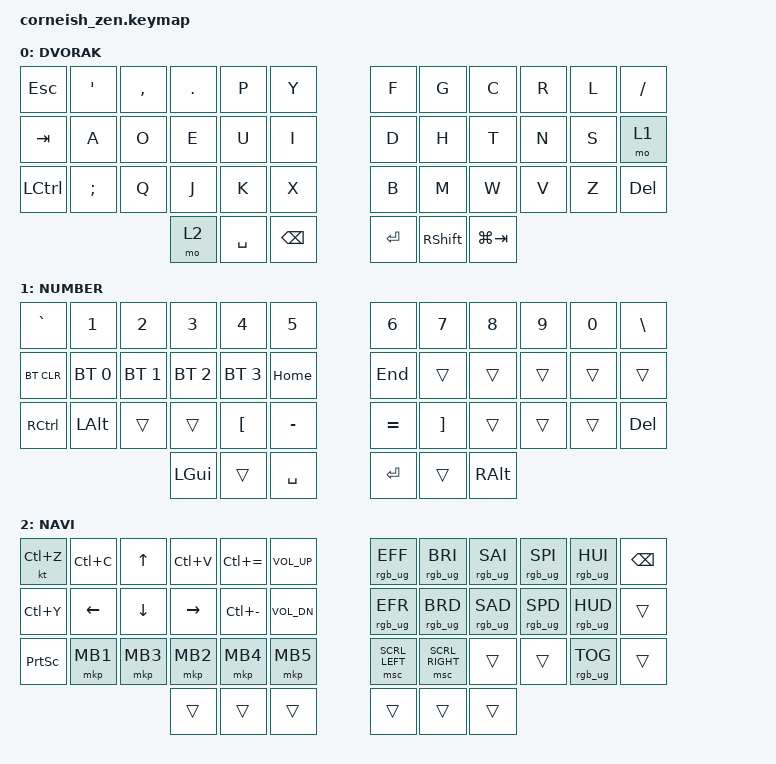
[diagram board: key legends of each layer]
#include <behaviors.dtsi>
#include <dt-bindings/zmk/bt.h>
#include <dt-bindings/zmk/keys.h>
#include <dt-bindings/zmk/pointing.h>
#include <dt-bindings/zmk/rgb.h>

/ {
    chosen {
        zmk,physical-layout = &foostan_corne_6col_layout;

        // zmk,physical-layout = &foostan_corne_5col_layout;
    };
};

/ {
    keymap {
        compatible = "zmk,keymap";

        TEXT {
            display-name = "DVORAK";

            // --------------------------------------------------------------------------------
            // |  TAB |  Q  |  W  |  E  |  R  |  T  |   |  Y  |  U   |  I  |  O  |  P  | BSPC |
            // | CTRL |  A  |  S  |  D  |  F  |  G  |   |  H  |  J   |  K  |  L  |  ;  |  '   |
            // | SHFT |  Z  |  X  |  C  |  V  |  B  |   |  N  |  M   |  ,  |  .  |  /  | ESC  |
            //                    | GUI | LWR | SPC |   | ENT | RSE  | ALT |

            bindings = <
&kp ESC    &kp SQT   &kp COMMA  &kp DOT  &kp P      &kp Y       &kp F    &kp G      &kp C        &kp R  &kp L  &kp FSLH
&kp TAB    &kp A     &kp O      &kp E    &kp U      &kp I       &kp D    &kp H      &kp T        &kp N  &kp S  &mo 1
&kp LCTRL  &kp SEMI  &kp Q      &kp J    &kp K      &kp X       &kp B    &kp M      &kp W        &kp V  &kp Z  &kp DEL
                                &mo 2    &kp SPACE  &kp BSPC    &kp RET  &kp RSHFT  &kp LG(TAB)
            >;
        };

        SYMBOL {
            display-name = "NUMBER";

            // -----------------------------------------------------------------------------------------
            // |  TAB |  1  |  2  |  3  |  4  |  5  |   |  6  |  7  |  8  |  9  |  0  | BSPC |
            // | BTCLR| BT1 | BT2 | BT3 | BT4 | BT5 |   | LFT | DWN |  UP | RGT |     |Studio|
            // | SHFT |     |     |     |     |     |   |     |     |     |     |     |      |
            //                    | GUI |     | SPC |   | ENT |     | ALT |

            bindings = <
&kp GRAVE   &kp N1        &kp N2        &kp N3        &kp N4        &kp N5       &kp N6     &kp N7    &kp N8    &kp N9  &kp N0  &kp BACKSLASH
&bt BT_CLR  &bt BT_SEL 0  &bt BT_SEL 1  &bt BT_SEL 2  &bt BT_SEL 3  &kp HOME     &kp END    &trans    &trans    &trans  &trans  &trans
&kp RCTRL   &kp LEFT_ALT  &trans        &trans        &kp LBKT      &kp MINUS    &kp EQUAL  &kp RBKT  &trans    &trans  &trans  &kp DELETE
                                        &kp LGUI      &trans        &kp SPACE    &kp RET    &trans    &kp RALT
            >;
        };

        NAVI {
            display-name = "NAVI";

            // -----------------------------------------------------------------------------------------
            // |  TAB |  !  |  @  |  #  |  $  |  %  |   |  ^  |  &  |  *  |  (  |  )  | BSPC |
            // | CTRL |     |     |     |     |     |   |  -  |  =  |  [  |  ]  |  \  |  `   |
            // | SHFT |     |     |     |     |     |   |  _  |  +  |  {  |  }  | "|" |  ~   |
            //                    | GUI |     | SPC |   | ENT |     | ALT |

            bindings = <
&kt LC(Z)        &kp LC(C)  &kp UP    &kp LC(V)  &kp LC(EQUAL)  &kp C_VOL_UP    &rgb_ug RGB_EFF  &rgb_ug RGB_BRI  &rgb_ug RGB_SAI  &rgb_ug RGB_SPI  &rgb_ug RGB_HUI  &kp BSPC
&kp LC(Y)        &kp LEFT   &kp DOWN  &kp RIGHT  &kp LC(MINUS)  &kp C_VOL_DN    &rgb_ug RGB_EFR  &rgb_ug RGB_BRD  &rgb_ug RGB_SAD  &rgb_ug RGB_SPD  &rgb_ug RGB_HUD  &trans
&kp PRINTSCREEN  &mkp MB1   &mkp MB3  &mkp MB2   &mkp MB4       &mkp MB5        &msc SCRL_LEFT   &msc SCRL_RIGHT  &trans           &trans           &rgb_ug RGB_TOG  &trans
                                      &trans     &trans         &trans          &trans           &trans           &trans
            >;
        };
    };
};
